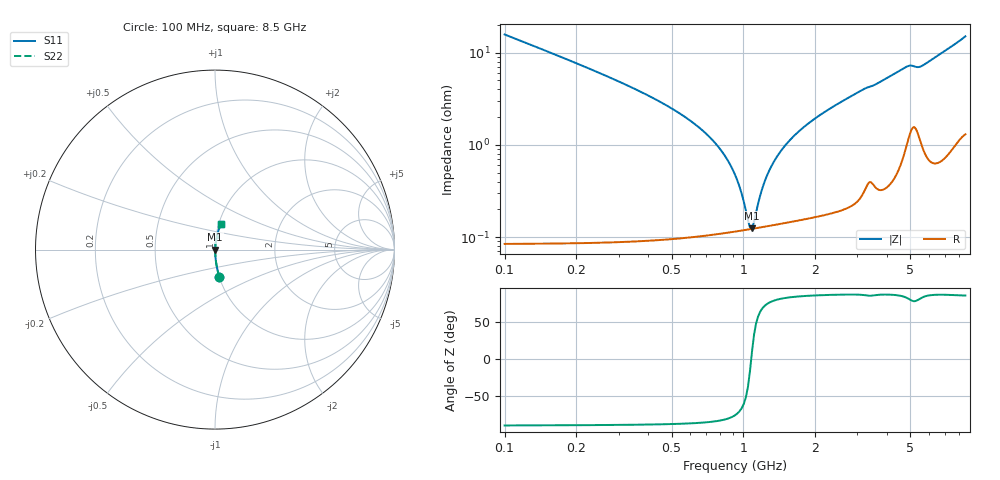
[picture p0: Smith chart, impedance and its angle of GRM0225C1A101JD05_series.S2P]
!Murata Part Number: GRM0225C1A101JD05
!These Parameters are Measured in Series Mode Connection
!  o--ll--o
!Port1  Port2
!  o------o
!Operation Temp=25[C], DC Bias Voltage=0[V]
!Freq. Start=100[MHz] Stop=8.5[GHz], 401[Steps]
# Hz S RI R 50
!Freq.(Hz)	S 11(Real)	S 11(Imag)	S 21(Real)	S 21(Imag)	S 12(Real)	S 12(Imag)	S 22(Real)	S 22(Imag)
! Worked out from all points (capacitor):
!   401 points, 100 MHz to 8.5 GHz, reference 50 ohm
!   read as one part in series: C = 100 pF near 142 MHz
!   lowest |Z| = 125 mohm at 1.087 GHz (marker M1)
!   series resonance near 1.079 GHz, so ESL is about 220 pH
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1e8  0.0251 -0.1537  0.9749 0.1537  0.9749 0.1537  0.0251 -0.1537
2.05e8  0.00641 -0.0743  0.9936 0.0743  0.9936 0.0743  0.00641 -0.0743
2.89e8  0.00347 -0.0509  0.9965 0.0509  0.9965 0.0509  0.00347 -0.0509
6.88e8  0.00122 -0.0136  0.9988 0.0136  0.9988 0.0136  0.00122 -0.0136
8.35e8  0.00116 -0.00758  0.9988 0.00758  0.9988 0.00758  0.00116 -0.00758
9.4e8  0.00117 -0.00404  0.9988 0.00404  0.9988 0.00404  0.00117 -0.00404
1.045e9  0.00121 -0.000924  0.9988 0.000924  0.9988 0.000924  0.00121 -0.000924
1.087e9  0.00123 0.00023  0.9988 -0.00023  0.9988 -0.00023  0.00123 0.00023
1.108e9  0.00124 0.00079  0.9988 -0.00079  0.9988 -0.00079  0.00124 0.00079
1.213e9  0.0013 0.00345  0.9987 -0.00345  0.9987 -0.00345  0.0013 0.00345
1.276e9  0.00135 0.00494  0.9987 -0.00494  0.9987 -0.00494  0.00135 0.00494
1.381e9  0.00142 0.00731  0.9986 -0.00731  0.9986 -0.00731  0.00142 0.00731
1.507e9  0.00153 0.00997  0.9985 -0.00997  0.9985 -0.00997  0.00153 0.00997
1.738e9  0.00174 0.0145  0.9983 -0.0145  0.9983 -0.0145  0.00174 0.0145
2.032e9  0.00206 0.0199  0.9979 -0.0199  0.9979 -0.0199  0.00206 0.0199
2.914e9  0.00351 0.0351  0.9965 -0.0351  0.9965 -0.0351  0.00351 0.0351
4.3e9  0.00785 0.0586  0.9922 -0.0586  0.9922 -0.0586  0.00785 0.0586
4.888e9  0.0159 0.0688  0.9841 -0.0688  0.9841 -0.0688  0.0159 0.0688
5.392e9  0.0173 0.0666  0.9827 -0.0666  0.9827 -0.0666  0.0173 0.0666
5.707e9  0.0136 0.0722  0.9864 -0.0722  0.9864 -0.0722  0.0136 0.0722
7.114e9  0.0188 0.1052  0.9812 -0.1052  0.9812 -0.1052  0.0188 0.1052
8.5e9  0.0341 0.143  0.9659 -0.143  0.9659 -0.143  0.0341 0.143
